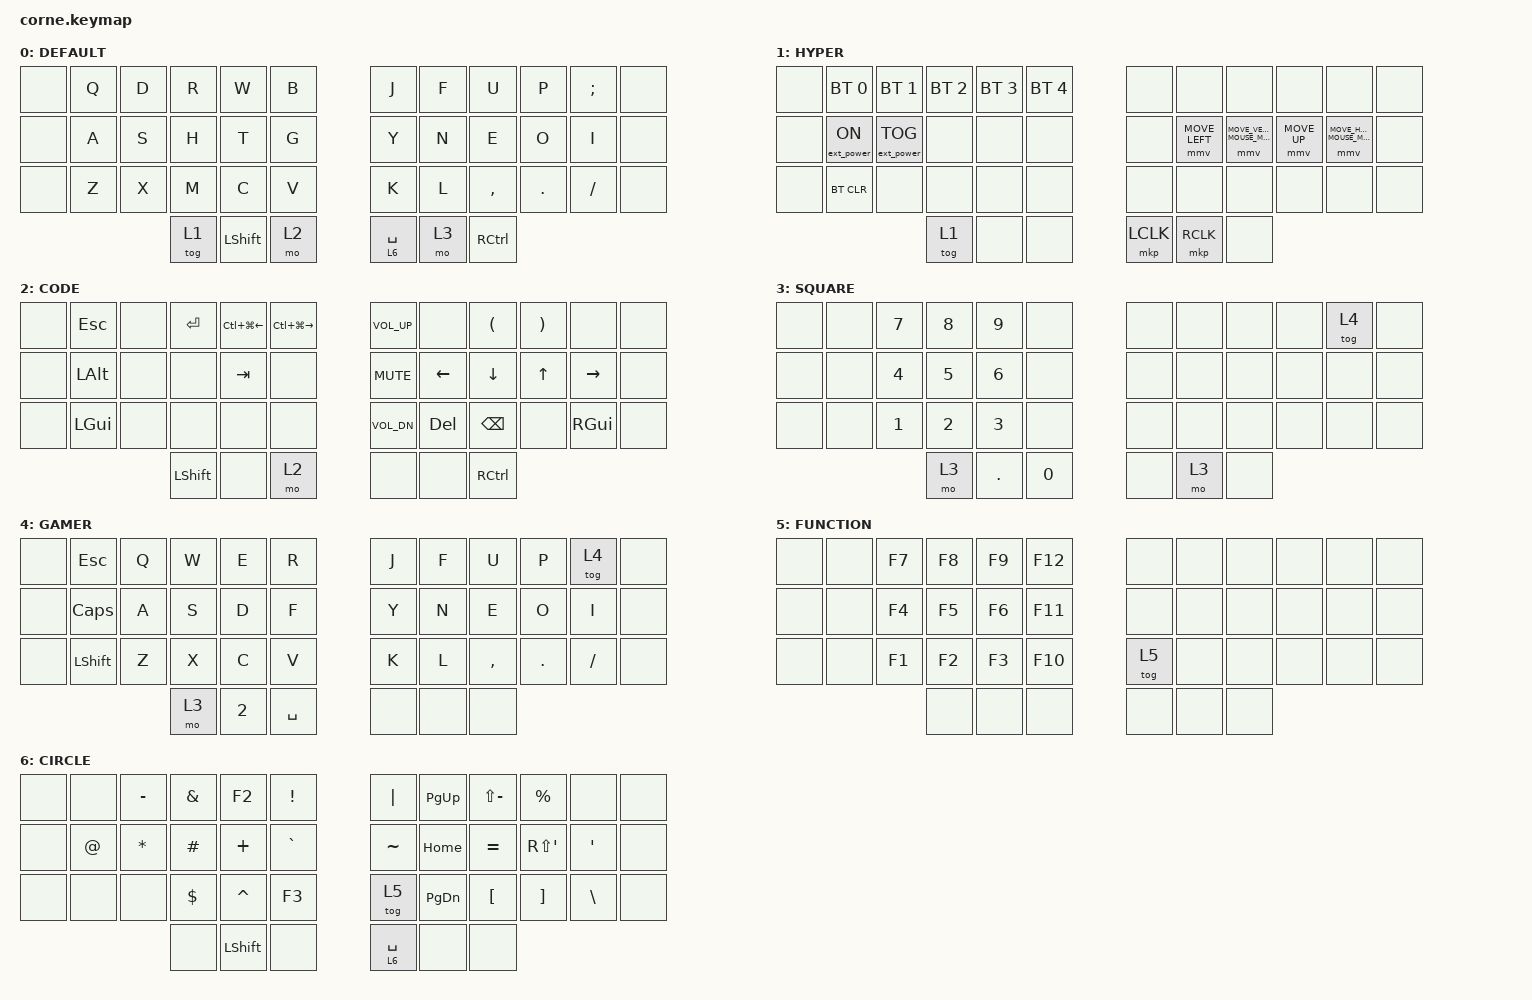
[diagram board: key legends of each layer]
/*
 * Copyright (c) 2020 The ZMK Contributors
 *
 * SPDX-License-Identifier: MIT
 */

#include <behaviors.dtsi>
#include <dt-bindings/zmk/keys.h>
#include <dt-bindings/zmk/bt.h>
#include <dt-bindings/zmk/mouse.h>
#include <dt-bindings/zmk/ext_power.h>

#define DEFAULT 0
#define HYPER 1
#define CODE 2
#define SQUARE 3
#define GAMER 4
#define FUNCTION 5
#define CIRCLE 6

#define U_MOUSE_MOVE_MAX 1200                     /* <--- New max speed setting (default: 600) */
#undef MOVE_UP
#undef MOVE_DOWN
#undef MOVE_LEFT
#undef MOVE_RIGHT
#define MOVE_UP MOVE_VERT(-U_MOUSE_MOVE_MAX)
#define MOVE_DOWN MOVE_VERT(U_MOUSE_MOVE_MAX)
#define MOVE_LEFT MOVE_HOR(-U_MOUSE_MOVE_MAX)
#define MOVE_RIGHT MOVE_HOR(U_MOUSE_MOVE_MAX)

&mmv {
	time-to-max-speed-ms = <700>;             /* <--- How long time until max speed is reached (default: 500) */
};

/ {


        keymap {
                compatible = "zmk,keymap";

            
                
                DEFAULT {

                        bindings = <
   &none &kp Q &kp D &kp R &kp W &kp B        &kp J &kp F  &kp U     &kp P   &kp SEMI &none
   &none &kp A &kp S &kp H &kp T &kp G        &kp Y &kp N  &kp E     &kp O   &kp I &none
   &none &kp Z &kp X &kp M &kp C &kp V        &kp K &kp L  &kp COMMA &kp DOT &kp FSLH &none
                &tog 1 &kp LSHIFT &mo 2        &lt 6 SPACE &mo 3 &kp RCTRL
                        >;
                };
                
                HYPER {

                        bindings = <
  &none &bt BT_SEL 0 &bt BT_SEL 1 &bt BT_SEL 2 &bt BT_SEL 3 &bt BT_SEL 4    &none &none &none &none &none &none  
   &none &ext_power EP_ON &ext_power EP_TOG &none &none &none                &none &mmv MOVE_LEFT &mmv MOVE_DOWN &mmv MOVE_UP &mmv MOVE_RIGHT &none
   &none &bt BT_CLR &none &none &none &none                                 &none &none &none &none &none &none 
                     &tog 1 &none &none                                     &mkp LCLK &mkp RCLK &none
                        >;
                };
                
                                        
                
                CODE {

                        bindings = <
   &none &kp ESC &none &kp ENTER &kp LC(LG(LEFT)) &kp LC(LG(RIGHT))     &kp C_VOL_UP &none &kp LPAR &kp RPAR &none &none
   &none &kp LALT &none &none &kp TAB &none                             &kp C_MUTE  &kp LEFT &kp DOWN &kp UP &kp RIGHT &none
   &none &kp LGUI &none &none &none &none                               &kp C_VOL_DN &kp DEL &kp BSPC &none &kp RGUI &none
                     &kp LSHIFT &none &mo 2                             &none &none &kp RCTRL
                        >;
                };
                
                SQUARE {

                        bindings = <
   &none &none &kp N7 &kp N8 &kp N9 &none        &none &none &none &none &tog 4 &none
   &none &none &kp N4 &kp N5 &kp N6 &none        &none &none &none &none &none &none
   &none &none &kp N1 &kp N2 &kp N3 &none        &none &none &none &none &none &none
                     &mo 3 &kp DOT &kp N0        &none &mo 3 &none
                        >;
                };
                
                GAMER {

                        bindings = <
  &none &kp ESC &kp Q &kp W &kp E &kp R        &kp J &kp F  &kp U     &kp P   &tog 4 &none
  &none &kp CAPS  &kp A &kp S &kp D &kp F        &kp Y &kp N  &kp E     &kp O   &kp I &none
  &none &kp LSHIFT &kp Z &kp X &kp C &kp V         &kp K &kp L  &kp COMMA &kp DOT &kp FSLH &none
                     &mo 3 &kp N2 &kp SPACE        &none &none &none
                        >; 
                };  
                FUNCTION {

                        bindings = <
   &none &none &kp F7 &kp F8 &kp F9 &kp F12        &none &none &none &none &none &none  
   &none &none &kp F4 &kp F5 &kp F6 &kp F11        &none &none &none &none &none &none
   &none &none &kp F1 &kp F2 &kp F3 &kp F10        &tog 5 &none &none &none &none &none 
                     &none &none &none        &none &none &none
                        >;
                };
                
                CIRCLE {

                        bindings = <
   &none &none &kp MINUS &kp AMPS &kp F2 &kp EXCL        &kp PIPE &kp PG_UP &kp LS(MINUS) &kp PERCENT &none &none  
   &none &kp AT &kp STAR &kp HASH &kp PLUS &kp GRAVE     &kp TILDE &kp HOME &kp EQUAL &kp RS(SQT) &kp SQT &none
   &none &none &none &kp DLLR &kp CARET &kp F3           &tog 5 &kp PG_DN &kp LBKT &kp RBKT &kp BSLH &none 
                     &none &kp LSHIFT &none              &lt 6 SPACE &none &none
                        >;
  };
  };
};
